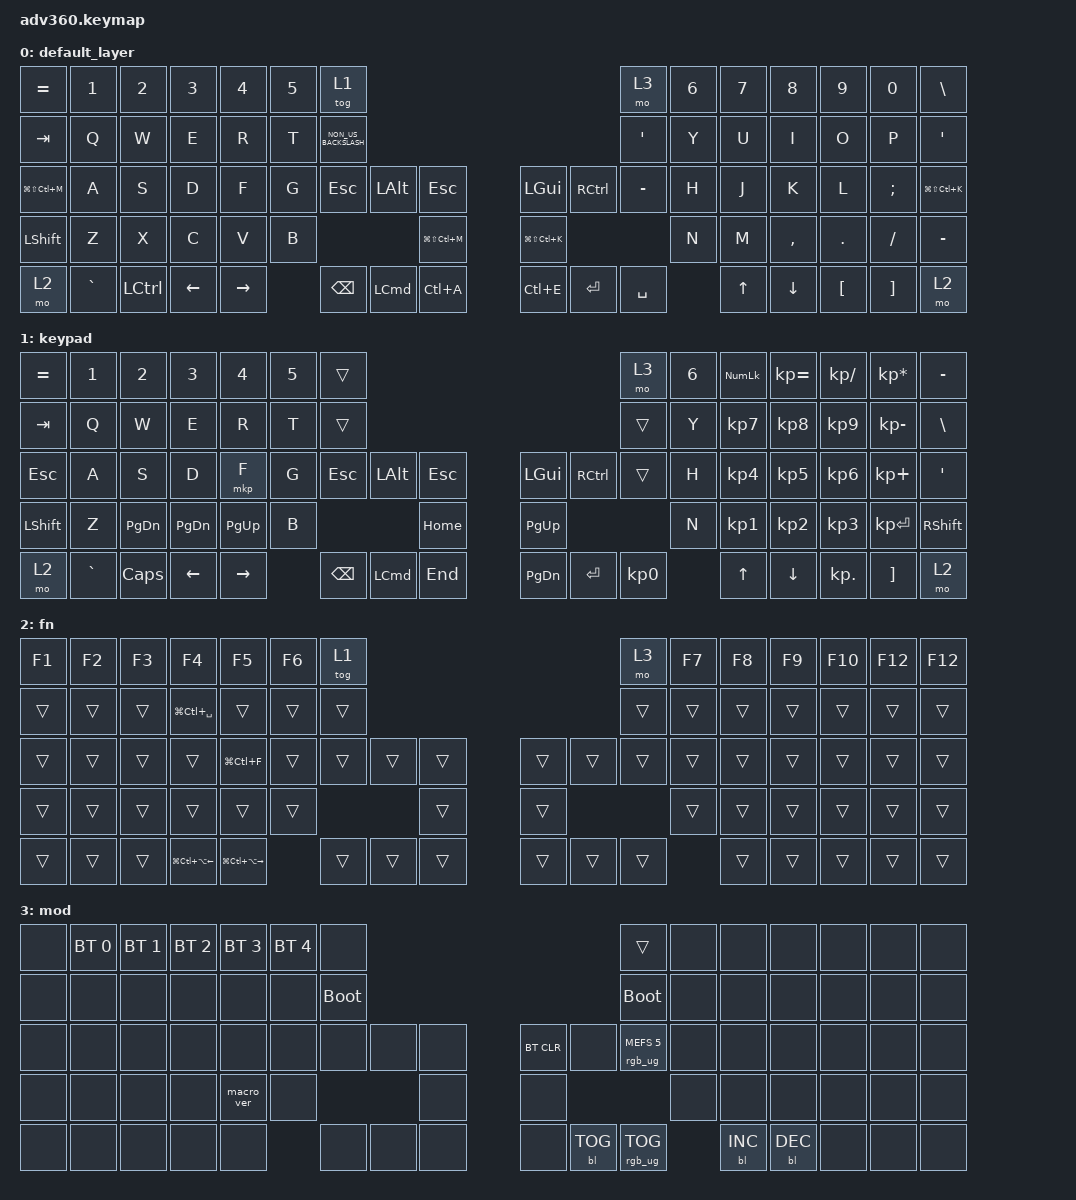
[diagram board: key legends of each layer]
#include <behaviors.dtsi>
#include <dt-bindings/zmk/keys.h>
#include <dt-bindings/zmk/bt.h>
#include <dt-bindings/zmk/rgb.h>
#include <dt-bindings/zmk/backlight.h>

/ {
    behaviors {
      #include "macros.dtsi"
      #include "version.dtsi"
      #ifndef VERSION_MACRO
      macro_ver: macro_ver {
        compatible = "zmk,behavior-macro";
        label = "macro_version";
        #binding-cells = <0>;
        bindings = <&kp RET>;
      };
      #endif

      hm: homerow_mods {
          compatible = "zmk,behavior-hold-tap";
          label = "HOMEROW_MODS";
          #binding-cells = <2>;
          tapping-term-ms = <200>;
          quick_tap_ms = <175>;
          flavor = "tap-preferred";
          bindings = <&kp>, <&kp>;
      };
    };

    keymap {
        compatible = "zmk,keymap";

        default_layer {
            bindings = <
&kp EQUAL          &kp N1     &kp N2     &kp N3    &kp N4     &kp N5  &tog 1                                                                               &mo 3      &kp N6  &kp N7  &kp N8     &kp N9    &kp N0    &kp BSLH
&kp TAB            &kp Q      &kp W      &kp E     &kp R      &kp T   &kp NON_US_BACKSLASH                                                                 &kp SQT    &kp Y   &kp U   &kp I      &kp O     &kp P     &kp SQT
&kp LG(LS(LC(M)))  &kp A      &kp S      &kp D     &kp F      &kp G   &kp ESCAPE            &kp LALT  &kp ESC                &kp LGUI           &kp RCTRL  &kp MINUS  &kp H   &kp J   &kp K      &kp L     &kp SEMI  &kp LG(LS(LC(K)))
&kp LSHFT          &kp Z      &kp X      &kp C     &kp V      &kp B                                   &kp LG(LS(LC(M)))      &kp LG(LS(LC(K)))                        &kp N   &kp M   &kp COMMA  &kp DOT   &kp FSLH  &kp MINUS
&mo 2              &kp GRAVE  &kp LCTRL  &kp LEFT  &kp RIGHT          &kp BSPC              &kp LCMD  &kp LC(A)              &kp LC(E)          &kp ENTER  &kp SPACE          &kp UP  &kp DOWN   &kp LBKT  &kp RBKT  &mo 2
            >;
        };

        keypad {
            bindings = <
&kp EQUAL  &kp N1     &kp N2         &kp N3          &kp N4        &kp N5  &trans                                                            &mo 3      &kp N6  &kp KP_NUM      &kp KP_EQUAL    &kp KP_DIVIDE    &kp KP_MULTIPLY  &kp MINUS
&kp TAB    &kp Q      &kp W          &kp E           &kp R         &kp T   &trans                                                             &trans      &kp Y   &kp KP_N7       &kp KP_N8       &kp KP_N9        &kp KP_MINUS     &kp BSLH
&kp ESC    &kp A      &kp S          &kp D           &mkp F     &kp G   &kp ESCAPE  &kp LEFT_ALT      &kp ESC       &kp LGUI   &kp RCTRL  &trans      &kp H   &kp KP_N4       &kp KP_N5       &kp KP_N6        &kp KP_PLUS      &kp SQT
&kp LSHFT  &kp Z      &kp PAGE_DOWN  &kp PAGE_DOWN   &kp PAGE_UP  &kp B                                 &kp HOME      &kp PG_UP                        &kp N   &kp KP_N1       &kp KP_N2       &kp KP_N3        &kp KP_ENTER     &kp RSHFT
&mo 2      &kp GRAVE  &kp CAPS       &kp LEFT        &kp RIGHT             &kp BSPC    &kp LEFT_COMMAND  &kp END       &kp PG_DN  &kp ENTER  &kp KP_N0          &kp UP          &kp DOWN        &kp KP_DOT       &kp RBKT         &mo 2
            >;
        };

        fn {
            bindings = <
&kp F1  &kp F2  &kp F3     &kp F4                      &kp F5                       &kp F6  &tog 1                                      &mo 3   &kp F7  &kp F8          &kp F9          &kp F10          &kp F12  &kp F12
&trans  &trans  &trans     &kp LG(LC(SPACE))           &trans                       &trans  &trans                                       &trans  &trans  &trans          &trans          &trans           &trans   &trans
&trans  &trans  &trans     &trans                      &kp LG(LC(F))                &trans  &trans   &trans  &trans      &trans  &trans  &trans  &trans  &trans          &trans          &trans           &trans   &trans
&trans  &trans  &trans     &trans                      &trans                       &trans                  &trans      &trans                  &trans  &trans           &trans          &trans           &trans   &trans
&trans  &trans  &trans     &kp LG(LC(LA(LEFT_ARROW)))  &kp LG(LC(LA(RIGHT_ARROW)))          &trans  &trans  &trans      &trans  &trans  &trans          &trans          &trans          &trans           &trans   &trans
            >;
        };

        mod {
            bindings = <
&none  &bt BT_SEL 0  &bt BT_SEL 1  &bt BT_SEL 2  &bt BT_SEL 3  &bt BT_SEL 4  &none                                                  &trans                  &none  &none       &none       &none  &none  &none
&none  &none         &none         &none         &none         &none         &bootloader                                            &bootloader             &none  &none       &none       &none  &none  &none
&none  &none         &none         &none         &none         &none         &none        &none  &none      &bt BT_CLR  &none       &rgb_ug RGB_MEFS_CMD 5  &none  &none       &none       &none  &none  &none
&none  &none         &none         &none         &macro_ver    &none                             &none      &none                                           &none  &none       &none       &none  &none  &none
&none  &none         &none         &none         &none                       &none        &none  &none      &none       &bl BL_TOG  &rgb_ug RGB_TOG                &bl BL_INC  &bl BL_DEC  &none  &none  &none
            >;
        };
    };
};
